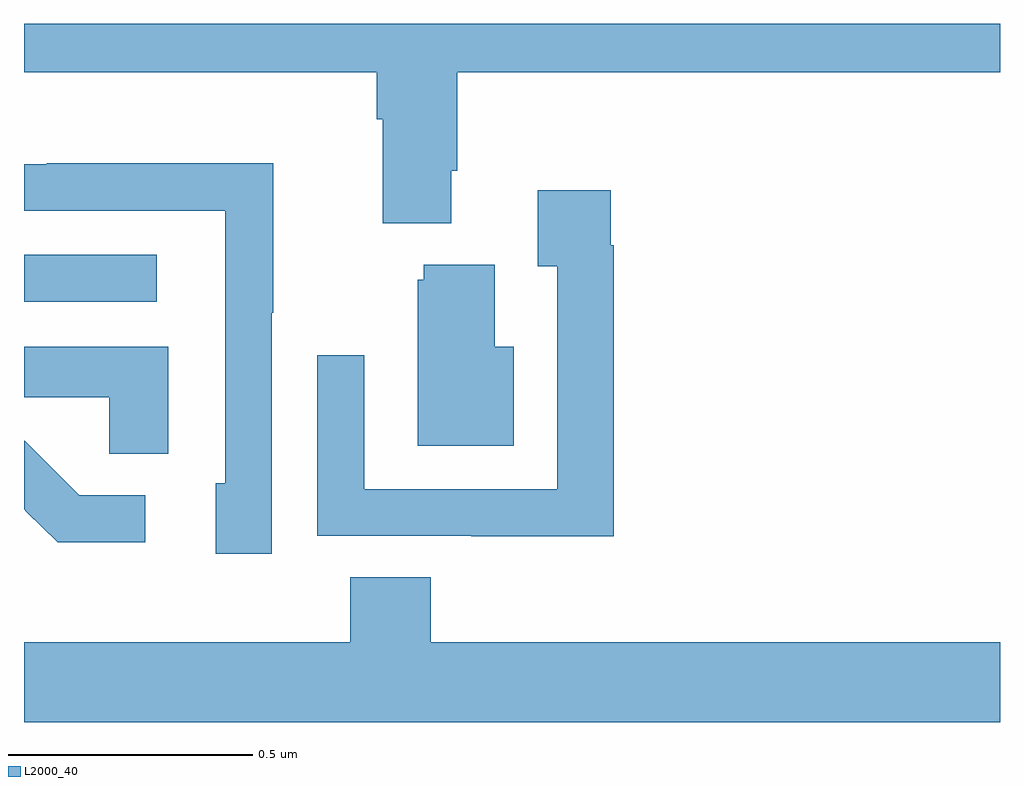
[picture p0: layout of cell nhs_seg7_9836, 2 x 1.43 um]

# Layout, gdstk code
import gdstk
lib = gdstk.Library(unit=1e-6, precision=1e-09)
def R(c, l, rs):  # rectangles x0, y0, x1, y1
    for r in rs: c.add(gdstk.rectangle(r[:2], r[2:], *l))
def P(c, l, *ps):  # polygons
    for p in ps: c.add(gdstk.Polygon(p, *l))
L2000_40 = (2000, 40)

nhs_seg7_9836 = lib.new_cell('nhs_seg7_9836')
R(nhs_seg7_9836, L2000_40, [(242,1049.43,242.272,1049.526)])
P(nhs_seg7_9836, L2000_40, [(242.875,1049.698),(242.888,1049.698),(242.888,1049.9),(244,1049.9),(244,1050),(242,1050),(242,1049.9),(242.723,1049.9),(242.723,1049.804),(242.735,1049.804),(242.735,1049.591),(242.875,1049.591)],
  [(242.508,1049.407),(242.511,1049.407),(242.511,1049.714),(242.047,1049.714),(242.047,1049.712),(242,1049.712),(242,1049.616),(242.412,1049.616),(242.412,1049.058),(242.393,1049.058),(242.393,1048.914),(242.508,1048.914)],
  [(243.209,1049.546),(243.202,1049.546),(243.202,1049.659),(243.053,1049.659),(243.053,1049.503),(243.093,1049.503),(243.093,1049.046),(242.697,1049.046),(242.697,1049.32),(242.601,1049.32),(242.601,1048.95),(242.917,1048.95),(242.917,1048.949),(243.209,1048.949)],
  [(243.004,1049.338),(242.965,1049.338),(242.965,1049.506),(242.819,1049.506),(242.819,1049.475),(242.807,1049.475),(242.807,1049.135),(243.004,1049.135)],
  [(242.296,1049.338),(242,1049.338),(242,1049.234),(242.175,1049.234),(242.175,1049.119),(242.296,1049.119)],
  [(242.248,1049.034),(242.113,1049.034),(242.002,1049.145),(242,1049.145),(242,1049.005),(242.005,1049),(242.069,1048.937),(242.248,1048.937)],
  [(242.669,1048.865),(242.669,1048.732),(242,1048.732),(242,1048.568),(244,1048.568),(244,1048.732),(242.834,1048.732),(242.834,1048.865)])

lib.write_gds('nhs_seg7_9836.gds')
